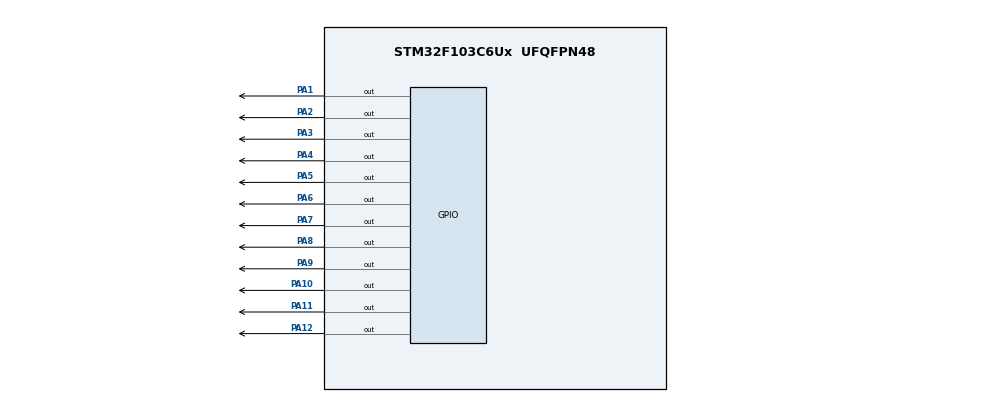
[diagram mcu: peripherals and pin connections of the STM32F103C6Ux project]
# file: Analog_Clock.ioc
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Mcu.Family=STM32F1
Mcu.Name=STM32F103C6Ux
Mcu.Package=UFQFPN48
NVIC.PriorityGroup=NVIC_PRIORITYGROUP_4
PA1.Signal=GPIO_Output
PA10.Signal=GPIO_Output
PA11.Signal=GPIO_Output
PA12.Signal=GPIO_Output
PA2.Signal=GPIO_Output
PA3.Signal=GPIO_Output
PA4.Signal=GPIO_Output
PA5.Signal=GPIO_Output
PA6.Signal=GPIO_Output
PA7.Signal=GPIO_Output
PA8.Signal=GPIO_Output
PA9.Signal=GPIO_Output
ProjectManager.HeapSize=0x200
ProjectManager.StackSize=0x400
ProjectManager.TargetToolchain=STM32CubeIDE
RCC.APB1Freq_Value=8000000
RCC.APB2Freq_Value=8000000
VP_SYS_VS_ND.Mode=No_Debug
board=custom

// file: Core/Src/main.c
/* USER CODE BEGIN Header */
/**
  ******************************************************************************
  * @file           : main.c
  * @brief          : Main program body
  ******************************************************************************
  * @attention
  *
  * <h2><center>&copy; Copyright (c) 2026 STMicroelectronics.
  * All rights reserved.</center></h2>
  *
  * This software component is licensed by ST under BSD 3-Clause license,
  * the "License"; You may not use this file except in compliance with the
  * License. You may obtain a copy of the License at:
  *                        opensource.org/licenses/BSD-3-Clause
  *
  ******************************************************************************
  */
/* USER CODE END Header */
#include "main.h"

/* USER CODE BEGIN PV */
uint16_t led_pins[12] = {GPIO_PIN_1, GPIO_PIN_2, GPIO_PIN_3, GPIO_PIN_4,
                         GPIO_PIN_5, GPIO_PIN_6, GPIO_PIN_7, GPIO_PIN_8,
                         GPIO_PIN_9, GPIO_PIN_10, GPIO_PIN_11, GPIO_PIN_12};
int hour = 0;
int minute = 0;
int second = 0;

/* USER CODE END PV */

void SystemClock_Config(void);
static void MX_GPIO_Init(void);
/* USER CODE BEGIN PFP */
void clearAllClock(void);
void setNumberOnClock(int num);
void clearNumberOnClock(int num);
/* USER CODE END PFP */

int main(void)
{

  /* MCU Configuration--------------------------------------------------------*/

  /* Reset of all peripherals, Initializes the Flash interface and the Systick. */
  HAL_Init();

  /* Configure the system clock */
  SystemClock_Config();

  /* Initialize all configured peripherals */
  MX_GPIO_Init();

  /* Infinite loop */
  while (1)
  {

    /* USER CODE BEGIN 3 */
//	  for (int i = 0; i < 12; i++) {
//	        setNumberOnClock(i);
//	        HAL_Delay(500);
//	        clearNumberOnClock(i);
//	   }
	  clearAllClock();
	  setNumberOnClock(hour % 12);
	  setNumberOnClock(minute / 5);
	  setNumberOnClock(second / 5);
	  second++;
	  if (second >= 60) {
		  second = 0;
	      minute++;
	  }
	  if (minute >= 60) {
	      minute = 0;
	      hour++;
	  }
	  if (hour >= 24) {
	      hour = 0;
	  }
	  HAL_Delay(10);
  }
  /* USER CODE END 3 */
}

void SystemClock_Config(void)
{
  RCC_OscInitTypeDef RCC_OscInitStruct = {0};
  RCC_ClkInitTypeDef RCC_ClkInitStruct = {0};

  /** Initializes the RCC Oscillators according to the specified parameters
  * in the RCC_OscInitTypeDef structure.
  */
  RCC_OscInitStruct.OscillatorType = RCC_OSCILLATORTYPE_HSI;
  RCC_OscInitStruct.HSIState = RCC_HSI_ON;
  RCC_OscInitStruct.HSICalibrationValue = RCC_HSICALIBRATION_DEFAULT;
  RCC_OscInitStruct.PLL.PLLState = RCC_PLL_NONE;
  if (HAL_RCC_OscConfig(&RCC_OscInitStruct) != HAL_OK)
  {
    Error_Handler();
  }
  /** Initializes the CPU, AHB and APB buses clocks
  */
  RCC_ClkInitStruct.ClockType = RCC_CLOCKTYPE_HCLK|RCC_CLOCKTYPE_SYSCLK
                              |RCC_CLOCKTYPE_PCLK1|RCC_CLOCKTYPE_PCLK2;
  RCC_ClkInitStruct.SYSCLKSource = RCC_SYSCLKSOURCE_HSI;
  RCC_ClkInitStruct.AHBCLKDivider = RCC_SYSCLK_DIV1;
  RCC_ClkInitStruct.APB1CLKDivider = RCC_HCLK_DIV1;
  RCC_ClkInitStruct.APB2CLKDivider = RCC_HCLK_DIV1;

  if (HAL_RCC_ClockConfig(&RCC_ClkInitStruct, FLASH_LATENCY_0) != HAL_OK)
  {
    Error_Handler();
  }
}

static void MX_GPIO_Init(void)
{
  GPIO_InitTypeDef GPIO_InitStruct = {0};

  /* GPIO Ports Clock Enable */
  __HAL_RCC_GPIOA_CLK_ENABLE();

  /*Configure GPIO pin Output Level */
  HAL_GPIO_WritePin(GPIOA, GPIO_PIN_1|GPIO_PIN_2|GPIO_PIN_3|GPIO_PIN_4
                          |GPIO_PIN_5|GPIO_PIN_6|GPIO_PIN_7|GPIO_PIN_8
                          |GPIO_PIN_9|GPIO_PIN_10|GPIO_PIN_11|GPIO_PIN_12, GPIO_PIN_RESET);

  /*Configure GPIO pins : PA1 PA2 PA3 PA4
                           PA5 PA6 PA7 PA8
                           PA9 PA10 PA11 PA12 */
  GPIO_InitStruct.Pin = GPIO_PIN_1|GPIO_PIN_2|GPIO_PIN_3|GPIO_PIN_4
                          |GPIO_PIN_5|GPIO_PIN_6|GPIO_PIN_7|GPIO_PIN_8
                          |GPIO_PIN_9|GPIO_PIN_10|GPIO_PIN_11|GPIO_PIN_12;
  GPIO_InitStruct.Mode = GPIO_MODE_OUTPUT_PP;
  GPIO_InitStruct.Pull = GPIO_NOPULL;
  GPIO_InitStruct.Speed = GPIO_SPEED_FREQ_LOW;
  HAL_GPIO_Init(GPIOA, &GPIO_InitStruct);

}

/* USER CODE BEGIN 4 */
void clearAllClock(void) {
    for (int i = 0; i < 12; i++) {
        HAL_GPIO_WritePin(GPIOA, led_pins[i], GPIO_PIN_SET);
    }
}

void setNumberOnClock(int num) {
    if (num >= 0 && num <= 11) {
        HAL_GPIO_WritePin(GPIOA, led_pins[num], GPIO_PIN_RESET);
    }
}

void clearNumberOnClock(int num) {
    if (num >= 0 && num <= 11) {
        HAL_GPIO_WritePin(GPIOA, led_pins[num], GPIO_PIN_SET);
    }
}
/* USER CODE END 4 */

void Error_Handler(void)
{
  __disable_irq();
  while (1)
  {
  }
}

/************************ (C) COPYRIGHT STMicroelectronics *****END OF FILE****/
